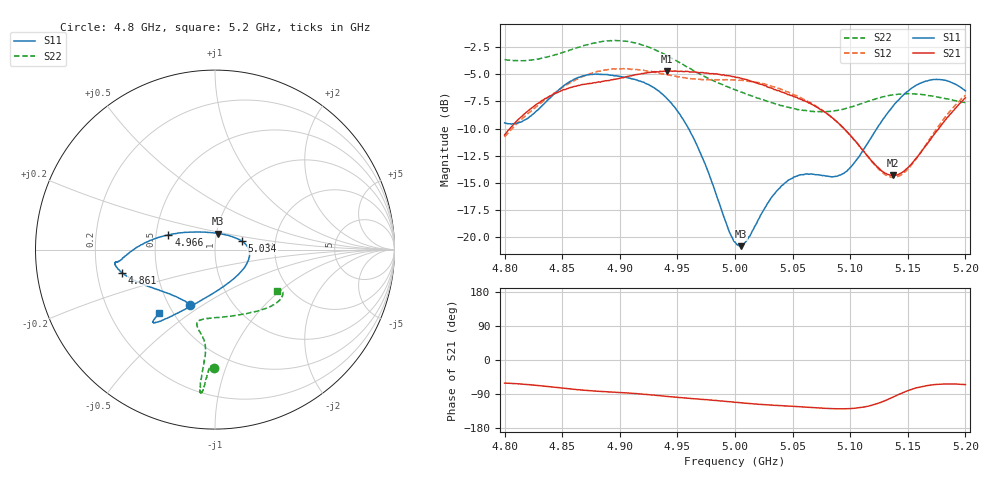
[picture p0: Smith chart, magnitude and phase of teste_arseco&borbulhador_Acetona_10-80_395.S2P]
! Network Analyzer HP8722D
! Hewlett-Packard
! Data name: Linha & Wilkinson
! Saver's name: Rodrigo Anjos
! Comments: Teste da utilização de aquisição
! continua pelo VNA HP8722D
! Time and date: 17/4/2025 17:39
!  Frequency  S11  S21  S12  S22
# HZ  S  MA R 50
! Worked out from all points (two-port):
!   401 points, 4.8 GHz to 5.2 GHz, reference 50 ohm
!   highest |S21| = -4.69 dB at 4.941 GHz (marker M1); lowest = -14.3 dB at 5.137 GHz (marker M2)
!   |S21| within 3 dB of the highest: 4.829 GHz to 5.065 GHz (236.7 MHz wide, 4.78 % of centre); 5.195038 GHz to end of sweep
!   lowest |S11| = -20.8 dB at 5.005 GHz (marker M3), VSWR 1.20, Z = 50.9 + j9.16 ohm
!   |S11| at or under -10 dB: 4.96 GHz to 5.123 GHz (163.4 MHz wide, 3.24 % of centre)
!   |S22| runs from -8.5 to -1.9 dB; largest |S21 - S12| = 0.87
!   S11 on the Smith chart (normalised r, x): 4.8 GHz: 0.64, -0.44; 4.861 GHz: 0.31, -0.11; 4.966 GHz: 0.58, +0.10; 5.034 GHz: 1.35, +0.13; 5.2 GHz: 0.42, -0.39
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4.8e9  0.3362 -114.3  0.2952 -61.0  0.2894 -175.3  0.6569 -90.4
4.819e9  0.3501 -134.2  0.3764 -64.5  0.3652 -174.1  0.6514 -91.8
4.861e9  0.5355 -166.2  0.495 -77.5  0.5289 -177.5  0.7399 -94.2
4.867e9  0.5502 -168.5  0.504 -79.3  0.5463 -178.5  0.7571 -94.4
4.902e9  0.5469 -173.0  0.5422 -85.9  0.596 174.5  0.8013 -95.9
4.934e9  0.4701 -178.6  0.5771 -94.1  0.5697 171.4  0.7133 -96.1
4.941e9  0.4342 178.2  0.5828 -95.9  0.5606 171.3  0.6859 -95.8
4.966e9  0.2721 162.4  0.5746 -102.6  0.5336 173.3  0.5768 -95.3
5e9  0.09482 98.0  0.5459 -111.7  0.53 175.8  0.4769 -99.2
5.005e9  0.09089 79.5  0.5391 -112.9  0.5269 175.8  0.4654 -100.5
5.012e9  0.1002 56.0  0.5265 -114.6  0.5218 175.5  0.4515 -102.0
5.034e9  0.1575 17.2  0.4782 -119.5  0.4919 174.4  0.4129 -103.4
5.049e9  0.1861 2.2  0.4488 -122.0  0.4588 173.8  0.3933 -99.7
5.067e9  0.1952 -17.0  0.4077 -125.3  0.4118 173.3  0.3792 -90.1
5.086e9  0.1903 -47.4  0.3494 -128.4  0.3484 173.5  0.3816 -75.6
5.097e9  0.2009 -69.6  0.3064 -128.6  0.3065 174.7  0.3921 -66.7
5.123e9  0.3156 -109.1  0.2116 -115.5  0.2106 -170.1  0.435 -48.5
5.134e9  0.3818 -117.8  0.1934 -102.3  0.1899 -155.2  0.4494 -43.1
5.137e9  0.3999 -119.5  0.1923 -98.2  0.1888 -150.4  0.4519 -41.8
5.15e9  0.4697 -125.2  0.2087 -81.2  0.2056 -130.8  0.4572 -36.9
5.17e9  0.5293 -129.7  0.2824 -66.0  0.2885 -112.3  0.4475 -32.3
5.2e9  0.4715 -131.2  0.4378 -64.9  0.45 -107.0  0.416 -33.7
